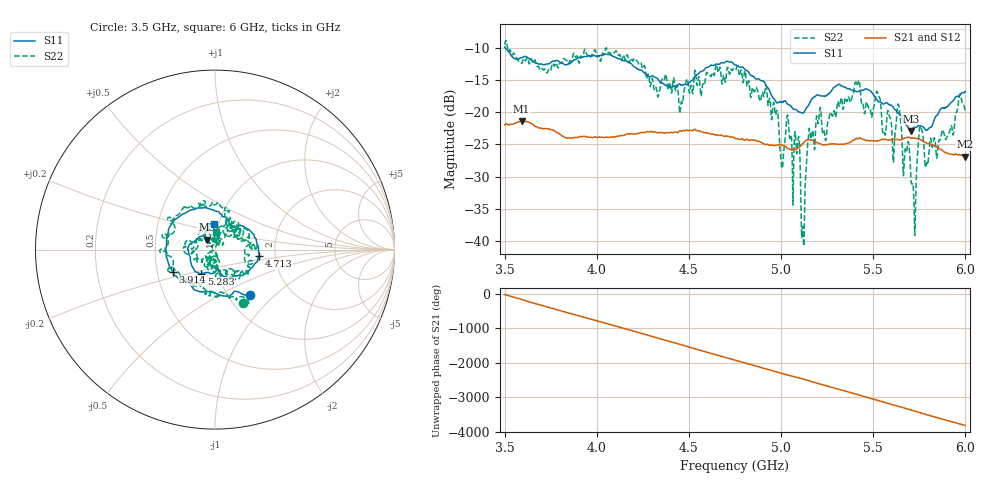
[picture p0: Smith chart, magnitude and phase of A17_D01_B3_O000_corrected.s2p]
! Created with skrf 1.9.0 (http://scikit-rf.org).
# Hz S RI R 50.0
!freq ReS11 ImS11 ReS21 ImS21 ReS12 ImS12 ReS22 ImS22
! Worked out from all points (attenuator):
!   1601 points, 3.5 GHz to 6 GHz, reference 50 ohm
!   highest |S21| = -21.37 dB at 3.592 GHz (marker M1); lowest = -26.9 dB at 6 GHz (marker M2)
!   lowest |S11| = -22.9 dB at 5.703 GHz (marker M3), VSWR 1.15, Z = 45.3 + j4.97 ohm
!   |S11| at or under -10 dB: 3.504 GHz to end of sweep
!   |S22| runs from -40.8 to -8.9 dB; largest |S21 - S12| = 0.0013
!   S11 on the Smith chart (normalised r, x): 3.5 GHz: 1.26, -0.71; 3.914 GHz: 0.60, -0.16; 4.713 GHz: 1.64, -0.13; 5.283 GHz: 0.83, -0.23; 6 GHz: 0.95, +0.28
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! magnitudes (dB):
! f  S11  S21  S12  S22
! 3.5 GHz  -9.9  -21.9  -22.0  -9.5
! 3.592 GHz  -11.5  -21.4  -21.4  -12.4
! 3.914 GHz  -11.5  -23.8  -23.8  -11.3
! 3.917 GHz  -11.5  -23.8  -23.8  -11.3
! 4.334 GHz  -15.0  -23.2  -23.1  -17.4
! 4.713 GHz  -12.1  -23.7  -23.7  -13.1
! 4.75 GHz  -12.7  -24.1  -24.0  -13.4
! 4.969 GHz  -18.2  -25.1  -25.1  -20.4
! 5.005 GHz  -18.4  -25.1  -25.1  -28.7
! 5.086 GHz  -19.7  -25.7  -25.7  -26.4
! 5.119 GHz  -20.1  -24.9  -24.8  -38.3
! 5.145 GHz  -19.1  -24.3  -24.2  -24.6
! 5.167 GHz  -17.9  -24.3  -24.3  -23.4
! 5.283 GHz  -16.2  -24.9  -24.9  -20.3
! 5.414 GHz  -16.8  -24.1  -24.1  -15.6
! 5.584 GHz  -18.8  -24.3  -24.3  -20.1
! 5.639 GHz  -20.2  -24.3  -24.3  -19.0
! 5.703 GHz  -22.9  -24.0  -24.0  -29.4
! 5.72 GHz  -22.3  -24.0  -24.0  -33.4
! 5.756 GHz  -22.1  -24.3  -24.2  -22.3
! 5.789 GHz  -22.8  -24.8  -24.7  -28.0
! 6 GHz  -16.8  -26.9  -26.8  -20.0
